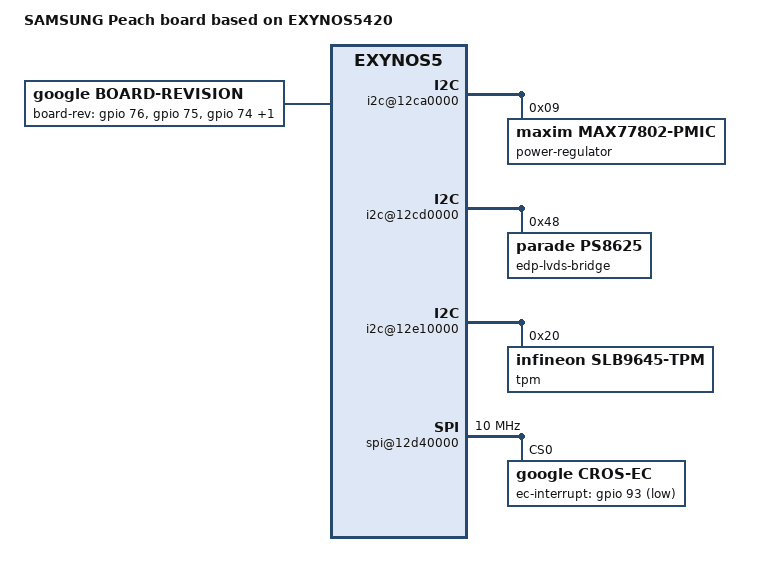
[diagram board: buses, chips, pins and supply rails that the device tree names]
/*
 * SAMSUNG Peach board device tree source
 *
 * Copyright (c) 2013 The Chromium OS Authors. All rights reserved.
 * Use of this source code is governed by a BSD-style license that can be
 * found in the LICENSE file.
 */

/dts-v1/;
/include/ "exynos54xx.dtsi"
#ifdef CONFIG_CHROMEOS
/include/ "flashmap-exynos-ro.dtsi"
/include/ "flashmap-4mb-rw.dtsi"
/include/ "chromeos-exynos.dtsi"
#endif
/ {
	model = "SAMSUNG Peach board based on EXYNOS5420";
	compatible = "google,pit-rev1", "google,pit", "samsung,exynos5420",
		"samsung,exynos5";

	aliases {
		serial0 = "/serial@12C30000";
		console = "/serial@12C30000";
	};

	board-rev {
		compatible = "google,board-revision";
		google,board-rev-gpios = <&gpio 76 0>,
					 <&gpio 75 0>,
					 <&gpio 74 0>,
					 <&gpio 73 0>;
	};

	config {
		hwid = "peach TEST A-A 9382";
	};
	/* override SPL size to match BL1 expectations */
	flash@0 {
		spl {
			size = <0x4000>;
		};
	};

	i2c@12ca0000 { /* i2c4 */
		power-regulator@9 {
			compatible = "maxim,max77802-pmic";
			reg = <0x9>;
		};
	};

	i2c@12cd0000 { /* i2c7 */
		edp-lvds-bridge@48 {
			compatible = "parade,ps8625";
			reg = <0x48>;
		};
	};

	i2c@12e10000 { /* i2c9 */
                tpm@20 {
                        compatible = "infineon,slb9645-tpm";
                        reg = <0x20>;
		};
	};

	spi@12d40000 { /* spi2 */
		clock-frequency = <10000000>;
		cros-ec@0 {
			reg = <0>;
			compatible = "google,cros-ec";
			spi-half-duplex;
			spi-max-timeout-ms = <100>;
			spi-frame-header = <0xec>;
			ec-interrupt = <&gpio 93 1>; /* GPX1_5 */
		};
	};

	fimd@14400000 {
		samsung,vl-freq = <60>;
		samsung,vl-col = <1366>;
		samsung,vl-row = <768>;
		samsung,vl-width = <1366>;
		samsung,vl-height = <768>;

		samsung,vl-clkp;
		samsung,vl-dp;
		samsung,vl-bpix = <4>;

		samsung,vl-hspw = <32>;
		samsung,vl-hbpd = <40>;
		samsung,vl-hfpd = <40>;
		samsung,vl-vspw = <6>;
		samsung,vl-vbpd = <10>;
		samsung,vl-vfpd = <12>;
		samsung,vl-cmd-allow-len = <0xf>;

		samsung,winid = <3>;
		samsung,interface-mode = <1>;
		samsung,dp-enabled = <1>;
		samsung,dual-lcd-enabled = <0>;
	};

	cros-ec-keyb {
		compatible = "google,cros-ec-keyb";
		google,key-rows = <8>;
		google,key-columns = <13>;
		google,repeat-delay-ms = <240>;
		google,repeat-rate-ms = <30>;
		google,ghost-filter;
		/*
		 * Keymap entries take the form of 0xRRCCKKKK where
		 * RR=Row CC=Column KKKK=Key Code
		 * The values below are for a US keyboard layout and
		 * are taken from the Linux driver. Note that the
		 * 102ND key is not used for US keyboards.
		 */
		linux,keymap = <
			/* CAPSLCK F1         B          F10     */
			0x0001003a 0x0002003b 0x00030030 0x00040044
			/* N       =          R_ALT      ESC     */
			0x00060031 0x0008000d 0x000a0064 0x01010001
			/* F4      G          F7         H       */
			0x0102003e 0x01030022 0x01040041 0x01060023
			/* '       F9         BKSPACE    L_CTRL  */
			0x01080028 0x01090043 0x010b000e 0x0200001d
			/* TAB     F3         T          F6      */
			0x0201000f 0x0202003d 0x02030014 0x02040040
			/* ]       Y          102ND      [       */
			0x0205001b 0x02060015 0x02070056 0x0208001a
			/* F8      GRAVE      F2         5       */
			0x02090042 0x03010029 0x0302003c 0x03030006
			/* F5      6          -          \       */
			0x0304003f 0x03060007 0x0308000c 0x030b002b
			/* R_CTRL  A          D          F       */
			0x04000061 0x0401001e 0x04020020 0x04030021
			/* S       K          J          ;       */
			0x0404001f 0x04050025 0x04060024 0x04080027
			/* L       ENTER      Z          C       */
			0x04090026 0x040b001c 0x0501002c 0x0502002e
			/* V       X          ,          M       */
			0x0503002f 0x0504002d 0x05050033 0x05060032
			/* L_SHIFT /          .          SPACE   */
			0x0507002a 0x05080035 0x05090034 0x050B0039
			/* 1       3          4          2       */
			0x06010002 0x06020004 0x06030005 0x06040003
			/* 8       7          0          9       */
			0x06050009 0x06060008 0x0608000b 0x0609000a
			/* L_ALT   DOWN       RIGHT      Q       */
			0x060a0038 0x060b006c 0x060c006a 0x07010010
			/* E       R          W          I       */
			0x07020012 0x07030013 0x07040011 0x07050017
			/* U       R_SHIFT    P          O       */
			0x07060016 0x07070036 0x07080019 0x07090018
			/* UP      LEFT    */
			0x070b0067 0x070c0069>;
	};
};
